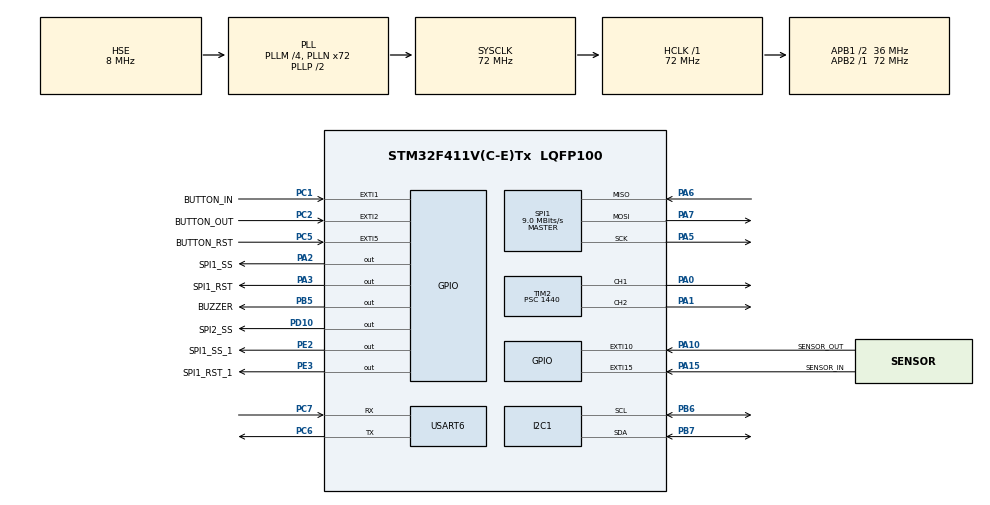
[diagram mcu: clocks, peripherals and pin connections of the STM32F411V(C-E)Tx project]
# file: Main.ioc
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IWDG.Prescaler=IWDG_PRESCALER_256
IWDG.Reload=625
Mcu.Family=STM32F4
Mcu.Name=STM32F411V(C-E)Tx
Mcu.Package=LQFP100
NVIC.EXTI15_10_IRQn=true\:0\:0\:true\:false\:true\:true\:true
NVIC.EXTI1_IRQn=true\:4\:0\:true\:false\:true\:true\:true
NVIC.EXTI2_IRQn=true\:4\:0\:true\:false\:true\:true\:true
NVIC.EXTI9_5_IRQn=true\:0\:0\:false\:false\:true\:true\:true
NVIC.PriorityGroup=NVIC_PRIORITYGROUP_4
NVIC.TIM1_TRG_COM_TIM11_IRQn=true\:0\:0\:false\:false\:true\:true\:true
PA0-WKUP.Signal=S_TIM2_CH1_ETR
PA1.Signal=S_TIM2_CH2
PA10.GPIO_Label=SENSOR_OUT
PA10.GPIO_ModeDefaultEXTI=GPIO_MODE_IT_RISING
PA10.GPIO_PuPd=GPIO_NOPULL
PA10.Signal=GPXTI10
PA13.Mode=Serial_Wire
PA13.Signal=SYS_JTMS-SWDIO
PA14.Mode=Serial_Wire
PA14.Signal=SYS_JTCK-SWCLK
PA15.GPIO_Label=SENSOR_IN
PA15.GPIO_ModeDefaultEXTI=GPIO_MODE_IT_RISING
PA15.GPIO_PuPd=GPIO_NOPULL
PA15.Signal=GPXTI15
PA2.GPIO_Label=SPI1_SS
PA2.Signal=GPIO_Output
PA3.GPIO_Label=SPI1_RST
PA3.Signal=GPIO_Output
PA5.Mode=Full_Duplex_Master
PA5.Signal=SPI1_SCK
PA6.Mode=Full_Duplex_Master
PA6.Signal=SPI1_MISO
PA7.Mode=Full_Duplex_Master
PA7.Signal=SPI1_MOSI
PB5.GPIO_Label=BUZZER
PB5.Signal=GPIO_Output
PB6.Mode=I2C
PB6.Signal=I2C1_SCL
PB7.Mode=I2C
PB7.Signal=I2C1_SDA
PC1.GPIO_Label=BUTTON_IN
PC1.GPIO_PuPd=GPIO_NOPULL
PC1.Signal=GPXTI1
PC2.GPIO_Label=BUTTON_OUT
PC2.GPIO_PuPd=GPIO_NOPULL
PC2.Signal=GPXTI2
PC5.GPIO_Label=BUTTON_RST
PC5.Signal=GPXTI5
PC6.Mode=Asynchronous
PC6.Signal=USART6_TX
PC7.Mode=Asynchronous
PC7.Signal=USART6_RX
PD10.GPIO_Label=SPI2_SS
PD10.Signal=GPIO_Output
PE2.GPIO_Label=SPI1_SS_1
PE2.Signal=GPIO_Output
PE3.GPIO_Label=SPI1_RST_1
PE3.Signal=GPIO_Output
PH0\ -\ OSC_IN.Mode=HSE-External-Oscillator
PH0\ -\ OSC_IN.Signal=RCC_OSC_IN
PH1\ -\ OSC_OUT.Mode=HSE-External-Oscillator
PH1\ -\ OSC_OUT.Signal=RCC_OSC_OUT
ProjectManager.HeapSize=0x200
ProjectManager.StackSize=0x400
ProjectManager.TargetToolchain=STM32CubeIDE
RCC.48MHZClocksFreq_Value=36000000
RCC.AHBFreq_Value=72000000
RCC.APB1CLKDivider=RCC_HCLK_DIV2
RCC.APB1Freq_Value=36000000
RCC.APB1TimFreq_Value=72000000
RCC.APB2Freq_Value=72000000
RCC.APB2TimFreq_Value=72000000
RCC.CortexFreq_Value=72000000
RCC.HCLKFreq_Value=72000000
RCC.HSE_VALUE=8000000
RCC.HSI_VALUE=16000000
RCC.LSE_VALUE=32768
RCC.PLLM=4
RCC.PLLN=72
RCC.PLLSourceVirtual=RCC_PLLSOURCE_HSE
RCC.SYSCLKFreq_VALUE=72000000
RCC.SYSCLKSource=RCC_SYSCLKSOURCE_PLLCLK
RCC.VCOOutputFreq_Value=144000000
SH.S_TIM2_CH1_ETR.0=TIM2_CH1,PWM Generation1 CH1
SH.S_TIM2_CH2.0=TIM2_CH2,PWM Generation2 CH2
SPI1.BaudRatePrescaler=SPI_BAUDRATEPRESCALER_8
SPI1.CalculateBaudRate=9.0 MBits/s
SPI1.Direction=SPI_DIRECTION_2LINES
SPI1.Mode=SPI_MODE_MASTER
SPI1.VirtualType=VM_MASTER
TIM11.AutoReloadPreload=TIM_AUTORELOAD_PRELOAD_ENABLE
TIM11.Prescaler=7200-1
TIM2.AutoReloadPreload=TIM_AUTORELOAD_PRELOAD_ENABLE
TIM2.Channel-PWM\ Generation1\ CH1=TIM_CHANNEL_1
TIM2.Channel-PWM\ Generation2\ CH2=TIM_CHANNEL_2
TIM2.OCMode_PWM-PWM\ Generation2\ CH2=TIM_OCMODE_PWM1
TIM2.Period=999
TIM2.Prescaler=1440
USART6.VirtualMode=VM_ASYNC
VP_IWDG_VS_IWDG.Mode=IWDG_Activate
VP_TIM11_VS_ClockSourceINT.Mode=Enable_Timer
VP_TIM2_VS_ClockSourceINT.Mode=Internal
board=custom

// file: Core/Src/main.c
/* USER CODE BEGIN Header */
/**
 ******************************************************************************
 * @file           : main.c
 * @brief          : Main program body
 ******************************************************************************
 * @attention
 *
 * Copyright (c) 2022 STMicroelectronics.
 * All rights reserved.
 *
 * This software is licensed under terms that can be found in the LICENSE file
 * in the root directory of this software component.
 * If no LICENSE file comes with this software, it is provided AS-IS.
 *
 ******************************************************************************
 */
/* USER CODE END Header */
#include "main.h"
#include "i2c.h"
#include "iwdg.h"
#include "spi.h"
#include "tim.h"
#include "usart.h"
#include "gpio.h"

/* USER CODE BEGIN Includes */
#include "mfrc522.h"
#include "stdio.h"
#include "math.h"
#include "string.h"
#include "i2c-lcd.h"
/* USER CODE END Includes */

/* USER CODE BEGIN PM */
uint8_t defaultKeyA[16] = { 0xFF, 0xFF, 0xFF, 0xFF, 0xFF, 0xFF };
uint8_t data[16];
uint8_t serNum[4];
unsigned char numData[10];
unsigned char c;
uint8_t clear = 0;
/* USER CODE END PM */

void SystemClock_Config(void);

/* USER CODE BEGIN 0 */
TIM_HandleTypeDef htim2;
TIM_HandleTypeDef htim11;
void delay_ms(uint16_t ms);
void Read_Block(void);
void display(uint8_t n);
void clear_numData(void);
uint8_t CompareData(void);
uint8_t Check(status_t string);
/* USER CODE END 0 */

int main(void)
{

  /* MCU Configuration--------------------------------------------------------*/

  /* Reset of all peripherals, Initializes the Flash interface and the Systick. */
  HAL_Init();

  /* Configure the system clock */
  SystemClock_Config();

  /* Initialize all configured peripherals */
  MX_GPIO_Init();
  MX_TIM2_Init();
  MX_TIM11_Init();
  MX_I2C1_Init();
  MX_SPI1_Init();
  MX_USART6_UART_Init();
  /* USER CODE BEGIN 2 */
  	HAL_TIM_PWM_Start(&htim2, TIM_CHANNEL_1);
	HAL_TIM_PWM_Start(&htim2, TIM_CHANNEL_2);
	HAL_TIM_Base_Start(&htim11);
  	lcd_init();
	lcd_clear();
	lcd_put_cur(0,0);
	lcd_send_string("RUNNING.........");
	OpenOut();
	OpenIn();
	Buzzer_Announ(1000);
	clear_numData();
	MFRC522_Reset();
	MFRC522_AntennaOn();
	MFRC522_Out_Reset();
	MFRC522_Out_AntennaOn();
	CloseOut();
	CloseIn();
	lcd_clear();
	lcd_put_cur(0,0);
	lcd_send_string("IN: ");
	lcd_put_cur(1, 0);
	lcd_send_string("OUT: ");
  /* USER CODE END 2 */

  /* Infinite loop */
	while (1)
	{

    /* USER CODE BEGIN 3 */
		//Check UID card
        if (Check(IN) == MI_OK)
		{
        	HAL_Delay(500);
//			if(data[0] != 48)
//			{
//				lcd_put_cur(0,4);
//				lcd_send_string("Error");
//				Buzzer_Announ(500);
//				lcd_put_cur(0,0);
//				lcd_send_string("IN:                ");
//				while (MFRC522_Read(4, data) == MI_OK);
//				continue;
//			}
//			else
//			{
//				HAL_UART_Transmit(&huart6, (uint8_t*) "I", 1, 300);
//				while(HAL_UART_Receive(&huart6,(uint8_t*)  &c, 1, 300) != HAL_OK)
//				{
//					if(c != "D" && c != "E")		continue;
//					else							break;
//				}
//				switch(c)
//				{
//					case 'E':
//					{
//						lcd_put_cur(0,4);
//						lcd_send_string("Error");
//						Buzzer_Announ(500);
//						lcd_put_cur(0,0);
//						lcd_send_string("IN:                ");
//						while (MFRC522_Read(4, data) == MI_OK);
////						Buzzer_Announ(500);
//						continue;
//					}
//					case 'D':
//					{
//						while(HAL_UART_Receive(&huart6, (uint8_t*)&numData, 10, 1000) != HAL_OK);
//						MFRC522_Write(4, (uint8_t*) &numData);
//						display(4);
//						delay_ms(1000);
//						lcd_put_cur(0,0);
//						lcd_send_string("IN:                ");
//						clear_numData();
//						OpenIn();
//						delay_ms(700);
//						continue;
//					}
//					while (MFRC522_Read(4, data) == MI_OK);
//					continue;
//				}
//			}

		}
		else if (Check(OUT) == MI_OK)
		{
			HAL_Delay(500);
//			if(data[0] == 48)
//			{
//				lcd_put_cur(1,5);
//				lcd_send_string("Error");
//				Buzzer_Announ(500);
//				lcd_put_cur(1,0);
//				lcd_send_string("OUT:                ");
//				while (MFRC522_Read_Out(4, data) == MI_OK);
//				continue;
//			}
//			else
//			{
//				HAL_UART_Transmit(&huart6, (uint8_t*)"O", 1, 300);
//				while(HAL_UART_Receive(&huart6,(uint8_t*)  &c, 1, 300) != HAL_OK)
//				{
//					if(c != "D" && c != "E")        continue;
//					else							break;
//				}
//				switch(c)
//				{
//					case 'E':
//					{
//						lcd_put_cur(1,5);
//						lcd_send_string("Error");
//						Buzzer_Announ(500);
//						lcd_put_cur(1,0);
//						lcd_send_string("OUT:                ");
//						while (MFRC522_Read_Out(4, data) == MI_OK);
//						//Buzzer_Announ(500);
//						continue;
//					}
//					case 'D':
//					{
//						while(HAL_UART_Receive(&huart6, (uint8_t*)&numData, 10, 1000) != HAL_OK);
//						if(CompareData() == MI_OK)
//						{
//							MFRC522_Write_Out(4, (uint8_t*) "0000000000");
//							display(5);
//							delay_ms(1000);
//							lcd_put_cur(1,0);
//							lcd_send_string("OUT:              ");
//							clear_numData();
//							OpenOut();
//							delay_ms(700);
//						}
//						else
//						{
//							lcd_put_cur(1,5);
//							lcd_send_string("Error");
//							Buzzer_Announ(500);
//							lcd_put_cur(1,0);
//							lcd_send_string("OUT:                ");
//						}
//						while (MFRC522_Read_Out(4, data) == MI_OK);
//						continue;
//					}
//				}
//			}

		}
		while(clear)
		{
			lcd_clear();
			lcd_put_cur(0, 0);
			lcd_send_string("-----CLEAR-----");
			if (Check(IN) == MI_OK)
			{
				while(MFRC522_Write(4, (uint8_t*) "0000000000") != MI_OK);
				lcd_clear();
				lcd_put_cur(0,0);
				lcd_send_string("IN: ");
				lcd_put_cur(1, 0);
				lcd_send_string("OUT: ");
				clear = 0;
			}
		}
	}
  /* USER CODE END 3 */
}

void SystemClock_Config(void)
{
  RCC_OscInitTypeDef RCC_OscInitStruct = {0};
  RCC_ClkInitTypeDef RCC_ClkInitStruct = {0};

  /** Configure the main internal regulator output voltage
  */
  __HAL_RCC_PWR_CLK_ENABLE();
  __HAL_PWR_VOLTAGESCALING_CONFIG(PWR_REGULATOR_VOLTAGE_SCALE1);
  /** Initializes the RCC Oscillators according to the specified parameters
  * in the RCC_OscInitTypeDef structure.
  */
  RCC_OscInitStruct.OscillatorType = RCC_OSCILLATORTYPE_LSI|RCC_OSCILLATORTYPE_HSE;
  RCC_OscInitStruct.HSEState = RCC_HSE_ON;
  RCC_OscInitStruct.LSIState = RCC_LSI_ON;
  RCC_OscInitStruct.PLL.PLLState = RCC_PLL_ON;
  RCC_OscInitStruct.PLL.PLLSource = RCC_PLLSOURCE_HSE;
  RCC_OscInitStruct.PLL.PLLM = 4;
  RCC_OscInitStruct.PLL.PLLN = 72;
  RCC_OscInitStruct.PLL.PLLP = RCC_PLLP_DIV2;
  RCC_OscInitStruct.PLL.PLLQ = 4;
  if (HAL_RCC_OscConfig(&RCC_OscInitStruct) != HAL_OK)
  {
    Error_Handler();
  }
  /** Initializes the CPU, AHB and APB buses clocks
  */
  RCC_ClkInitStruct.ClockType = RCC_CLOCKTYPE_HCLK|RCC_CLOCKTYPE_SYSCLK
                              |RCC_CLOCKTYPE_PCLK1|RCC_CLOCKTYPE_PCLK2;
  RCC_ClkInitStruct.SYSCLKSource = RCC_SYSCLKSOURCE_PLLCLK;
  RCC_ClkInitStruct.AHBCLKDivider = RCC_SYSCLK_DIV1;
  RCC_ClkInitStruct.APB1CLKDivider = RCC_HCLK_DIV2;
  RCC_ClkInitStruct.APB2CLKDivider = RCC_HCLK_DIV1;

  if (HAL_RCC_ClockConfig(&RCC_ClkInitStruct, FLASH_LATENCY_2) != HAL_OK)
  {
    Error_Handler();
  }
}

/* USER CODE BEGIN 4 */
/************************************************************************
 Internal CLock = 72MHz = 72 000 000 Hz
 Ftimer = 72 000 000 / Prescaler(7200) = 10 000
 Ttimer = 1/Ftimer = 10^-4 s = 0.1 ms
 => Time ngat tran (ms) = 1ms => Counter Period = 1/0.1 = 10
 ************************************************************************/
void delay_ms(uint16_t ms)
{
	__HAL_TIM_SET_COUNTER(&htim11, 0);
	while(__HAL_TIM_GET_COUNTER(&htim11) < (ms * 10) );
}

void Buzzer_Announ(uint32_t time)
{
	HAL_GPIO_WritePin(BUZZER_GPIO_Port, BUZZER_Pin, GPIO_PIN_SET);
	delay_ms(time);
	HAL_GPIO_WritePin(BUZZER_GPIO_Port, BUZZER_Pin, GPIO_PIN_RESET);
}

void HAL_GPIO_EXTI_Callback(uint16_t GPIO_Pin)
{
	switch (GPIO_Pin)
	{
		case BUTTON_RST_Pin:
		{
			clear = 1;
			break;
		}
		case BUTTON_OUT_Pin:
		{
			OpenOut();
			break;
		}
		case BUTTON_IN_Pin:
		{
			OpenIn();
			break;
		}
		case SENSOR_OUT_Pin:
		{
			CloseOut();
			break;
		}
		case SENSOR_IN_Pin:
		{
			CloseIn();
			break;
		}
	}
}

void display(uint8_t n) //IN --> n = 4; OUT --> n = 5;
{
	uint8_t x;
	if((char)numData[9] == '-')
		x = 9;
	else
		x = 10;
	for(int j = 0; j < x; j++)
	{
		lcd_put_cur((n - 4), j + n);
		lcd_send_data((char)numData[j]);
	}
}

uint8_t CompareData()
{
	uint8_t x;
	if((char)numData[9] == '-')
		x = 9;
	else
		x = 10;
	for (int i = 0; i < x; i++)
	{
		if (data[i] != numData[i])
		{
			return MI_ERR;
		}
	}
	return MI_OK;
}

void clear_numData()
{
	for(int i = 0; i < 10; i++)
		numData[i] = 0;
}

uint8_t Check(status_t string)
{
	switch(string)
	{
		case IN:
		{
			if (MFRC522_Request(PICC_REQALL, serNum) != MI_OK)                          return MI_ERR; //Yeu cau tim Card nam trong vung hoat dong.
			if (MFRC522_Anticoll(serNum) != MI_OK) 										return MI_ERR; //Chong trung the
			if (MFRC522_Select(serNum) != MI_OK)										return MI_ERR; //Lua ch�?n Card de giao tiep_doc data tu card
			if (MFRC522_AuthState(PICC_AUTHENT1A, 4, defaultKeyA, serNum) != MI_OK)		return MI_ERR; //Lenh nay de xac thuc cho phep giao tiep voi Block 4
			if (MFRC522_Read(4, data) != MI_OK)											return MI_ERR; //Doc va ghi gia tri vao mang data
			return MI_OK;
		}
		case OUT:
		{
			if (MFRC522_Out_Request(PICC_REQALL, serNum) != MI_OK)						return MI_ERR;
			if (MFRC522_Out_Anticoll(serNum) != MI_OK) 									return MI_ERR;
			if (MFRC522_Select_Out(serNum) != MI_OK)									return MI_ERR;
			if (MFRC522_AuthState_Out(PICC_AUTHENT1A, 4, defaultKeyA, serNum) != MI_OK) return MI_ERR;
			if (MFRC522_Read_Out(4, data) != MI_OK)										return MI_ERR;
			return MI_OK;
		}
		return MI_ERR;
	}
}
/* USER CODE END 4 */

void Error_Handler(void)
{
	__disable_irq();
	while (1) {
	}
}
